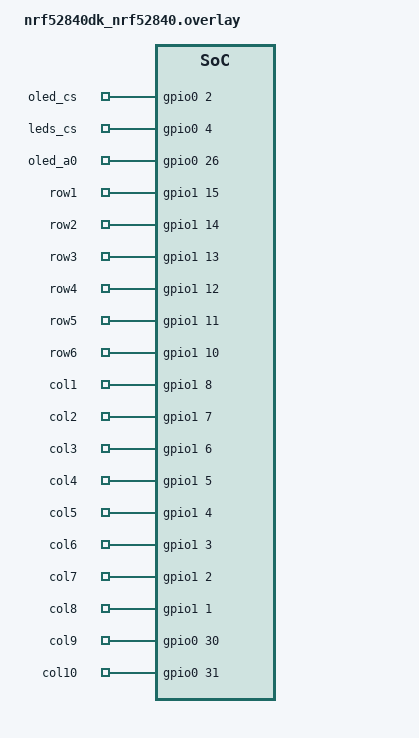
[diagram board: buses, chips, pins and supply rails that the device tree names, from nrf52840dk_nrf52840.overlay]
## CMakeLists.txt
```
cmake_minimum_required(VERSION 3.20.0)
find_package(Zephyr REQUIRED HINTS $ENV{ZEPHYR_BASE})
project(uhk_nordic_right)

zephyr_include_directories(.)

FILE(GLOB app_sources src/*.c)
target_sources(app PRIVATE ${app_sources})
```

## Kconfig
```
# config USB_DEVICE_PID
# 	default USB_PID_HID_MOUSE_SAMPLE

source "Kconfig.zephyr"
```

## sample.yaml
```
sample:
  name: UHK 80 right half
tests:
  sample.drivers.uart:
    tags: serial uart
    filter: CONFIG_SERIAL and
            CONFIG_UART_INTERRUPT_DRIVEN and
            dt_chosen_enabled("zephyr,shell-uart")
    harness: keyboard
```

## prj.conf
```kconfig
CONFIG_PINCTRL=y

CONFIG_ADC=y

CONFIG_SERIAL=y
# CONFIG_UART_INTERRUPT_DRIVEN=y
CONFIG_SPI=y
# CONFIG_NRFX_SPI0=y
# CONFIG_SPI_NRFX=y

CONFIG_BT_SETTINGS=y
CONFIG_FLASH=y
CONFIG_FLASH_PAGE_LAYOUT=y
CONFIG_FLASH_MAP=y
CONFIG_NVS=y
CONFIG_SETTINGS=y

CONFIG_CONSOLE=y
CONFIG_UART_CONSOLE=y
CONFIG_UART_LINE_CTRL=y
CONFIG_UART_INTERRUPT_DRIVEN=y

CONFIG_SHELL=y
CONFIG_HWINFO=y
CONFIG_HWINFO_SHELL=y
CONFIG_I2C=y
CONFIG_I2C_SHELL=y
CONFIG_MCUBOOT_IMG_MANAGER=y
CONFIG_STREAM_FLASH=y
CONFIG_IMG_MANAGER=y
CONFIG_MCUBOOT_SHELL=y
CONFIG_SETTINGS_SHELL=y
CONFIG_SHELL_BACKENDS=y
CONFIG_USE_SEGGER_RTT=y
CONFIG_SHELL_BACKEND_RTT=y
```

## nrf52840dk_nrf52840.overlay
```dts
// To get started, press Ctrl+Space to bring up the completion menu and view the available nodes.

// You can also use the buttons in the sidebar to perform actions on nodes.
// Actions currently available include:

// * Enabling / disabling the node
// * Adding the bus to a bus
// * Removing the node
// * Connecting ADC channels

// For more help, browse the DeviceTree documentation at https://docs.zephyrproject.org/latest/guides/dts/index.html
// You can also visit the nRF DeviceTree extension documentation at https://nrfconnect.github.io/vscode-nrf-connect/devicetree/nrfdevicetree.html

&pinctrl {
    uart1_default: uart1_default {
        group1 {
            psels = <NRF_PSEL(UART_RX, 0, 3)>;
            bias-pull-up;
        };
        group2 {
            psels = <NRF_PSEL(UART_TX, 0, 14)>;
        };
    };

    uart1_sleep: uart1_sleep {
        group1 {
            psels = <NRF_PSEL(UART_RX, 0, 3)>,
                <NRF_PSEL(UART_TX, 0, 14)>;
            low-power-enable;
        };
    };

    spi1_default: spi1_default {
        group1 {
            psels = <NRF_PSEL(SPIM_SCK, 0, 27)>,
                <NRF_PSEL(SPIM_MOSI, 0, 28)>,
                <NRF_PSEL(SPIM_MISO, 0, 29)>;
        };
    };
};

/ {
    gpios {
        compatible = "gpio-keys";
        oled_cs: oled_cs {
            gpios = <&gpio0 2 GPIO_ACTIVE_HIGH>;
            label = "oled_cs";
        };
        leds_cs: leds_cs {
            gpios = <&gpio0 4 GPIO_ACTIVE_HIGH>;
            label = "leds_cs";
        };
        oled_a0: oled_a0 {
            gpios = <&gpio0 26 GPIO_ACTIVE_HIGH>;
            label = "oled_a0";
        };

        row1: row1 {
            gpios = <&gpio1 15 (GPIO_ACTIVE_HIGH)>;
            label = "row1";
        };
        row2: row2 {
            gpios = <&gpio1 14 (GPIO_ACTIVE_HIGH)>;
            label = "row2";
        };
        row3: row3 {
            gpios = <&gpio1 13 (GPIO_ACTIVE_HIGH)>;
            label = "row3";
        };
        row4: row4 {
            gpios = <&gpio1 12 (GPIO_ACTIVE_HIGH)>;
            label = "row4";
        };
        row5: row5 {
            gpios = <&gpio1 11 (GPIO_ACTIVE_HIGH)>;
            label = "row5";
        };
        row6: row6 {
            gpios = <&gpio1 10 (GPIO_ACTIVE_HIGH)>;
            label = "row6";
        };

        col1: col1 {
           gpios = <&gpio1 8 (GPIO_ACTIVE_HIGH | GPIO_PULL_DOWN)>;
           label = "col1";
        };
        col2: col2 {
            gpios = <&gpio1 7 (GPIO_ACTIVE_HIGH | GPIO_PULL_DOWN)>;
            label = "col2";
        };
        col3: col3 {
            gpios = <&gpio1 6 (GPIO_ACTIVE_HIGH | GPIO_PULL_DOWN)>;
            label = "col3";
        };
        col4: col4 {
            gpios = <&gpio1 5 (GPIO_ACTIVE_HIGH | GPIO_PULL_DOWN)>;
            label = "col4";
        };
        col5: col5 {
            gpios = <&gpio1 4 (GPIO_ACTIVE_HIGH | GPIO_PULL_DOWN)>;
            label = "col5";
        };
        col6: col6 {
            gpios = <&gpio1 3 (GPIO_ACTIVE_HIGH | GPIO_PULL_DOWN)>;
            label = "col6";
        };
        col7: col7 {
            gpios = <&gpio1 2 (GPIO_ACTIVE_HIGH | GPIO_PULL_DOWN)>;
            label = "col7";
        };
        col8: col8 {
            gpios = <&gpio1 1 (GPIO_ACTIVE_HIGH | GPIO_PULL_DOWN)>;
            label = "col8";
        };
        col9: col9 {
            gpios = <&gpio0 30 (GPIO_ACTIVE_HIGH | GPIO_PULL_DOWN)>;
            label = "col9";
        };
        col10: col10 {
            gpios = <&gpio0 31 (GPIO_ACTIVE_HIGH | GPIO_PULL_DOWN)>;
            label = "col10";
        };
    };
    aliases {
        oled-cs = &oled_cs;
        leds-cs = &leds_cs;
        oled-a0 = &oled_a0;
        row1 = &row1;
        row2 = &row2;
        row3 = &row3;
        row4 = &row4;
        row5 = &row5;
        row6 = &row6;
        col1 = &col1;
        col2 = &col2;
        col3 = &col3;
        col4 = &col4;
        col5 = &col5;
        col6 = &col6;
        col7 = &col7;
        col8 = &col8;
        col9 = &col9;
        col10 = &col10;
    };
};

arduino_spi: &spi3 {
    status = "disabled";
};
```

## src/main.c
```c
void main(void)
{


    uint32_t counter = 0;
    bool pixel = 1;
    while (true) {
        c = 0;
        for (uint8_t rowId=0; rowId<6; rowId++) {
            gpio_pin_set_dt(&rows[rowId], 1);
            for (uint8_t colId=0; colId<10; colId++) {
                if (gpio_pin_get_dt(&cols[colId])) {
                    c = 1;
                    printk("SW%c%c ", rowId+'1', colId+'1');
                }
            }
            gpio_pin_set_dt(&rows[rowId], 0);
        }

//      uart_poll_out(uart_dev, 'a');

        setA0(false);
        setOledCs(false);
        writeSpi(0xaf);
        setOledCs(true);

        setA0(false);
        setOledCs(false);
        writeSpi(0x81);
        writeSpi(0xff);
        setOledCs(true);

        setA0(true);
        setOledCs(false);
        writeSpi(pixel ? 0xff : 0x00);
        setOledCs(true);

        setLedsCs(false);
        writeSpi(LedPagePrefix | 2);
        writeSpi(0x00);
        writeSpi(0b00001001);
        setLedsCs(true);

        setLedsCs(false);
        writeSpi(LedPagePrefix | 2);
        writeSpi(0x01);
        writeSpi(0xff);
        setLedsCs(true);

        setLedsCs(false);
        writeSpi(LedPagePrefix | 0);
        writeSpi(0x00);
        for (int i=0; i<255; i++) {
            writeSpi(c?0xff:0);
        }
        setLedsCs(true);

        setLedsCs(false);
        writeSpi(LedPagePrefix | 1);
        writeSpi(0x00);
        for (int i=0; i<255; i++) {
            writeSpi(c?0xff:0);
        }
        setLedsCs(true);

//        k_msleep(1);

        if (counter++ > 19) {
            pixel = !pixel;
            counter = 0;
        }
    }
}
```
